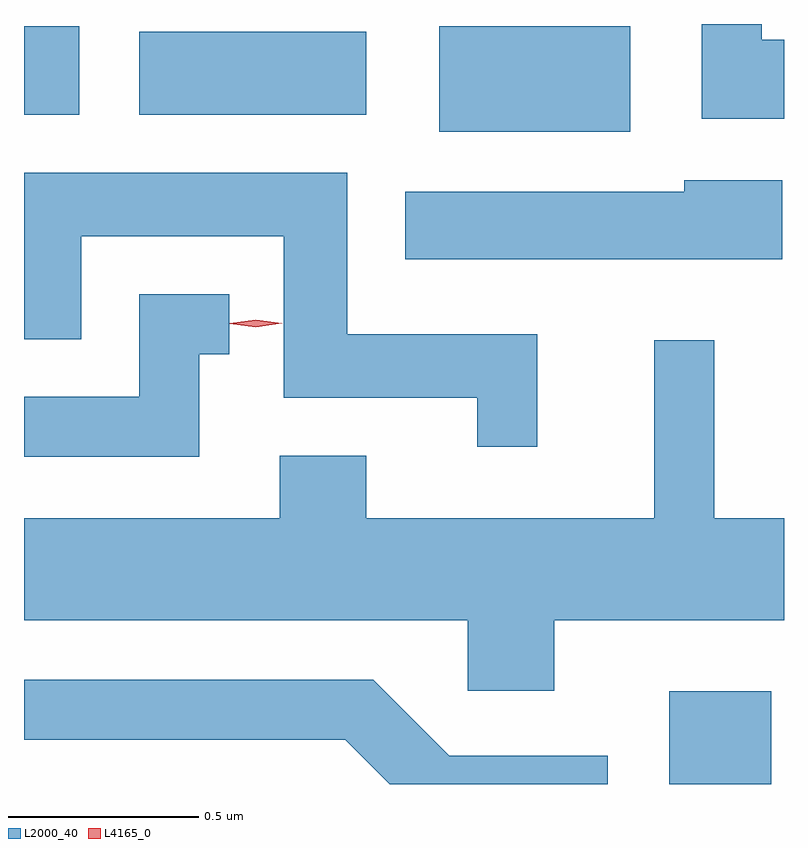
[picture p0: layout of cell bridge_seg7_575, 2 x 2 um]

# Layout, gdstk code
import gdstk
lib = gdstk.Library(unit=1e-6, precision=1e-09)
def R(c, l, rs):  # rectangles x0, y0, x1, y1
    for r in rs: c.add(gdstk.rectangle(r[:2], r[2:], *l))
def P(c, l, *ps):  # polygons
    for p in ps: c.add(gdstk.Polygon(p, *l))
L2000_40 = (2000, 40)
L4165_0 = (4165, 0)

bridge_seg7_575 = lib.new_cell('bridge_seg7_575')
R(bridge_seg7_575, L2000_40, [(964.476,1771.605,964.744,1771.849), (963.871,1773.321,964.374,1773.599), (962.778,1773.366,962.924,1773.599), (963.081,1773.366,963.679,1773.584)])
P(bridge_seg7_575, L2000_40, [(964.778,1773.564),(964.719,1773.564),(964.719,1773.605),(964.561,1773.605),(964.561,1773.356),(964.778,1773.356)],
  [(964.129,1772.789),(963.629,1772.789),(963.629,1773.214),(962.778,1773.214),(962.778,1772.776),(962.929,1772.776),(962.929,1773.046),(963.461,1773.046),(963.461,1772.621),(963.971,1772.621),(963.971,1772.493),(964.129,1772.493)],
  [(964.774,1773.194),(964.516,1773.194),(964.516,1773.164),(963.781,1773.164),(963.781,1772.986),(964.774,1772.986)],
  [(963.239,1772.736),(963.318,1772.736),(963.318,1772.894),(963.081,1772.894),(963.081,1772.624),(962.778,1772.624),(962.778,1772.466),(963.239,1772.466)],
  [(964.174,1772.036),(964.778,1772.036),(964.778,1772.304),(964.594,1772.304),(964.594,1772.773),(964.436,1772.773),(964.436,1772.304),(963.679,1772.304),(963.679,1772.469),(963.451,1772.469),(963.451,1772.304),(962.778,1772.304),(962.778,1772.036),(963.946,1772.036),(963.946,1771.851),(964.174,1771.851)],
  [(964.314,1771.679),(963.897,1771.679),(963.697,1771.879),(962.778,1771.879),(962.778,1771.721),(963.624,1771.721),(963.74,1771.605),(964.314,1771.605)])
P(bridge_seg7_575, L4165_0, [(963.388,1772.807),(963.319,1772.816),(963.319,1772.817),(963.319,1772.817),(963.388,1772.827),(963.458,1772.818),(963.458,1772.818),(963.458,1772.817)])

lib.write_gds('bridge_seg7_575.gds')
